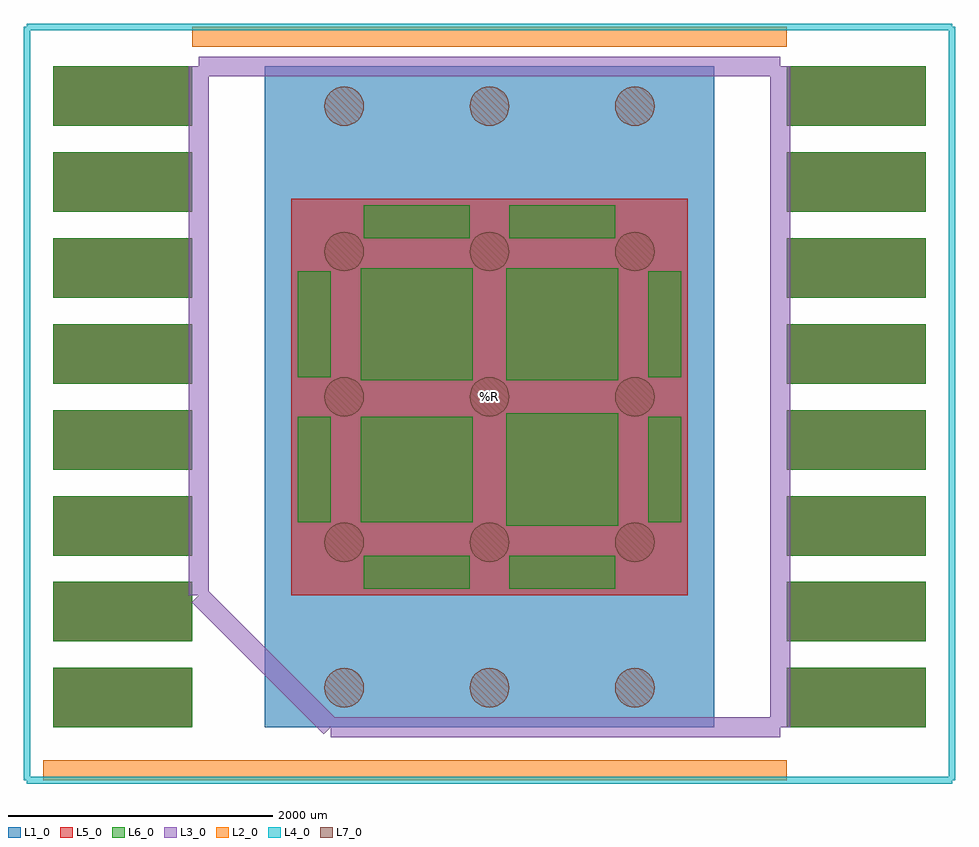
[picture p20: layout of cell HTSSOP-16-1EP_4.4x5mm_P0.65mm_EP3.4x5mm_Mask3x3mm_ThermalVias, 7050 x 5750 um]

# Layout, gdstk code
import gdstk
lib = gdstk.Library(unit=1e-6, precision=1e-09)
def R(c, l, rs):  # rectangles x0, y0, x1, y1
    for r in rs: c.add(gdstk.rectangle(r[:2], r[2:], *l))
def A(c, l, x, y, w, h, nx, ny, dx, dy):  # array of equal rectangles
    R(c, l, [(x+i*dx, y+j*dy, x+i*dx+w, y+j*dy+h) for i in range(nx) for j in range(ny)])
def P(c, l, *ps):  # polygons
    for p in ps: c.add(gdstk.Polygon(p, *l))
L1_0 = (1, 0)
L2_0 = (2, 0)
L3_0 = (3, 0)
L4_0 = (4, 0)
L5_0 = (5, 0)
L6_0 = (6, 0)
L7_0 = (7, 0)

htssop_16_1ep_4_4x5mm_p0 = lib.new_cell('HTSSOP-16-1EP_4.4x5mm_P0.65mm_EP3.4x5mm_Mask3x3mm_ThermalVias')
A(htssop_16_1ep_4_4x5mm_p0, L1_0, -3300, -2500, 1050, 450, 1, 8, 0, 650)
A(htssop_16_1ep_4_4x5mm_p0, L1_0, 2250, -2500, 1050, 450, 1, 8, 0, 650)
R(htssop_16_1ep_4_4x5mm_p0, L1_0, [(-1700,-2500,1700,2500), (-1700,-2500,1700,2500)])
P(htssop_16_1ep_4_4x5mm_p0, L1_0, [(-800,2200),(-823,2315),(-888,2412),(-985,2477),(-1100,2500),(-1215,2477),(-1312,2412),(-1377,2315),(-1400,2200),(-1377,2085),(-1312,1988),(-1215,1923),(-1100,1900),(-985,1923),(-888,1988),(-823,2085)],
  [(300,2200),(277,2315),(212,2412),(115,2477),(0,2500),(-115,2477),(-212,2412),(-277,2315),(-300,2200),(-277,2085),(-212,1988),(-115,1923),(0,1900),(115,1923),(212,1988),(277,2085)],
  [(1400,2200),(1377,2315),(1312,2412),(1215,2477),(1100,2500),(985,2477),(888,2412),(823,2315),(800,2200),(823,2085),(888,1988),(985,1923),(1100,1900),(1215,1923),(1312,1988),(1377,2085)],
  [(1400,1100),(1377,1215),(1312,1312),(1215,1377),(1100,1400),(985,1377),(888,1312),(823,1215),(800,1100),(823,985),(888,888),(985,823),(1100,800),(1215,823),(1312,888),(1377,985)],
  [(300,1100),(277,1215),(212,1312),(115,1377),(0,1400),(-115,1377),(-212,1312),(-277,1215),(-300,1100),(-277,985),(-212,888),(-115,823),(0,800),(115,823),(212,888),(277,985)],
  [(-800,1100),(-823,1215),(-888,1312),(-985,1377),(-1100,1400),(-1215,1377),(-1312,1312),(-1377,1215),(-1400,1100),(-1377,985),(-1312,888),(-1215,823),(-1100,800),(-985,823),(-888,888),(-823,985)],
  [(1400,0),(1377,115),(1312,212),(1215,277),(1100,300),(985,277),(888,212),(823,115),(800,0),(823,-115),(888,-212),(985,-277),(1100,-300),(1215,-277),(1312,-212),(1377,-115)],
  [(300,0),(277,115),(212,212),(115,277),(0,300),(-115,277),(-212,212),(-277,115),(-300,0),(-277,-115),(-212,-212),(-115,-277),(0,-300),(115,-277),(212,-212),(277,-115)],
  [(-800,0),(-823,115),(-888,212),(-985,277),(-1100,300),(-1215,277),(-1312,212),(-1377,115),(-1400,0),(-1377,-115),(-1312,-212),(-1215,-277),(-1100,-300),(-985,-277),(-888,-212),(-823,-115)],
  [(1400,-1100),(1377,-985),(1312,-888),(1215,-823),(1100,-800),(985,-823),(888,-888),(823,-985),(800,-1100),(823,-1215),(888,-1312),(985,-1377),(1100,-1400),(1215,-1377),(1312,-1312),(1377,-1215)],
  [(300,-1100),(277,-985),(212,-888),(115,-823),(0,-800),(-115,-823),(-212,-888),(-277,-985),(-300,-1100),(-277,-1215),(-212,-1312),(-115,-1377),(0,-1400),(115,-1377),(212,-1312),(277,-1215)],
  [(-800,-1100),(-823,-985),(-888,-888),(-985,-823),(-1100,-800),(-1215,-823),(-1312,-888),(-1377,-985),(-1400,-1100),(-1377,-1215),(-1312,-1312),(-1215,-1377),(-1100,-1400),(-985,-1377),(-888,-1312),(-823,-1215)],
  [(1400,-2200),(1377,-2085),(1312,-1988),(1215,-1923),(1100,-1900),(985,-1923),(888,-1988),(823,-2085),(800,-2200),(823,-2315),(888,-2412),(985,-2477),(1100,-2500),(1215,-2477),(1312,-2412),(1377,-2315)],
  [(300,-2200),(277,-2085),(212,-1988),(115,-1923),(0,-1900),(-115,-1923),(-212,-1988),(-277,-2085),(-300,-2200),(-277,-2315),(-212,-2412),(-115,-2477),(0,-2500),(115,-2477),(212,-2412),(277,-2315)],
  [(-800,-2200),(-823,-2085),(-888,-1988),(-985,-1923),(-1100,-1900),(-1215,-1923),(-1312,-1988),(-1377,-2085),(-1400,-2200),(-1377,-2315),(-1312,-2412),(-1215,-2477),(-1100,-2500),(-985,-2477),(-888,-2412),(-823,-2315)])
A(htssop_16_1ep_4_4x5mm_p0, L5_0, -3300, -2500, 1050, 450, 1, 8, 0, 650)
A(htssop_16_1ep_4_4x5mm_p0, L5_0, 2250, -2500, 1050, 450, 1, 8, 0, 650)
R(htssop_16_1ep_4_4x5mm_p0, L5_0, [(-1500,-1500,1500,1500)])
A(htssop_16_1ep_4_4x5mm_p0, L6_0, -3300, -2500, 1050, 450, 1, 8, 0, 650)
A(htssop_16_1ep_4_4x5mm_p0, L6_0, 2250, -2500, 1050, 450, 1, 8, 0, 650)
R(htssop_16_1ep_4_4x5mm_p0, L6_0, [(-950,-1450,-150,-1200), (150,-1450,950,-1200), (125,-975,975,-125), (-1450,-950,-1200,-150), (-975,-950,-125,-150), (1200,-950,1450,-150), (-975,125,-125,975), (125,125,975,975), (-1450,150,-1200,950), (1200,150,1450,950), (-950,1200,-150,1450), (150,1200,950,1450)])
P(htssop_16_1ep_4_4x5mm_p0, L7_0, [(-950,2200),(-953,2229),(-961,2257),(-975,2283),(-994,2306),(-1017,2325),(-1043,2339),(-1071,2347),(-1100,2350),(-1129,2347),(-1157,2339),(-1183,2325),(-1206,2306),(-1225,2283),(-1239,2257),(-1247,2229),(-1250,2200),(-1247,2171),(-1239,2143),(-1225,2117),(-1206,2094),(-1183,2075),(-1157,2061),(-1129,2053),(-1100,2050),(-1071,2053),(-1043,2061),(-1017,2075),(-994,2094),(-975,2117),(-961,2143),(-953,2171)],
  [(150,2200),(147,2229),(139,2257),(125,2283),(106,2306),(83,2325),(57,2339),(29,2347),(0,2350),(-29,2347),(-57,2339),(-83,2325),(-106,2306),(-125,2283),(-139,2257),(-147,2229),(-150,2200),(-147,2171),(-139,2143),(-125,2117),(-106,2094),(-83,2075),(-57,2061),(-29,2053),(0,2050),(29,2053),(57,2061),(83,2075),(106,2094),(125,2117),(139,2143),(147,2171)],
  [(1250,2200),(1247,2229),(1239,2257),(1225,2283),(1206,2306),(1183,2325),(1157,2339),(1129,2347),(1100,2350),(1071,2347),(1043,2339),(1017,2325),(994,2306),(975,2283),(961,2257),(953,2229),(950,2200),(953,2171),(961,2143),(975,2117),(994,2094),(1017,2075),(1043,2061),(1071,2053),(1100,2050),(1129,2053),(1157,2061),(1183,2075),(1206,2094),(1225,2117),(1239,2143),(1247,2171)],
  [(1250,1100),(1247,1129),(1239,1157),(1225,1183),(1206,1206),(1183,1225),(1157,1239),(1129,1247),(1100,1250),(1071,1247),(1043,1239),(1017,1225),(994,1206),(975,1183),(961,1157),(953,1129),(950,1100),(953,1071),(961,1043),(975,1017),(994,994),(1017,975),(1043,961),(1071,953),(1100,950),(1129,953),(1157,961),(1183,975),(1206,994),(1225,1017),(1239,1043),(1247,1071)],
  [(150,1100),(147,1129),(139,1157),(125,1183),(106,1206),(83,1225),(57,1239),(29,1247),(0,1250),(-29,1247),(-57,1239),(-83,1225),(-106,1206),(-125,1183),(-139,1157),(-147,1129),(-150,1100),(-147,1071),(-139,1043),(-125,1017),(-106,994),(-83,975),(-57,961),(-29,953),(0,950),(29,953),(57,961),(83,975),(106,994),(125,1017),(139,1043),(147,1071)],
  [(-950,1100),(-953,1129),(-961,1157),(-975,1183),(-994,1206),(-1017,1225),(-1043,1239),(-1071,1247),(-1100,1250),(-1129,1247),(-1157,1239),(-1183,1225),(-1206,1206),(-1225,1183),(-1239,1157),(-1247,1129),(-1250,1100),(-1247,1071),(-1239,1043),(-1225,1017),(-1206,994),(-1183,975),(-1157,961),(-1129,953),(-1100,950),(-1071,953),(-1043,961),(-1017,975),(-994,994),(-975,1017),(-961,1043),(-953,1071)],
  [(1250,0),(1247,29),(1239,57),(1225,83),(1206,106),(1183,125),(1157,139),(1129,147),(1100,150),(1071,147),(1043,139),(1017,125),(994,106),(975,83),(961,57),(953,29),(950,0),(953,-29),(961,-57),(975,-83),(994,-106),(1017,-125),(1043,-139),(1071,-147),(1100,-150),(1129,-147),(1157,-139),(1183,-125),(1206,-106),(1225,-83),(1239,-57),(1247,-29)],
  [(150,0),(147,29),(139,57),(125,83),(106,106),(83,125),(57,139),(29,147),(0,150),(-29,147),(-57,139),(-83,125),(-106,106),(-125,83),(-139,57),(-147,29),(-150,0),(-147,-29),(-139,-57),(-125,-83),(-106,-106),(-83,-125),(-57,-139),(-29,-147),(0,-150),(29,-147),(57,-139),(83,-125),(106,-106),(125,-83),(139,-57),(147,-29)],
  [(-950,0),(-953,29),(-961,57),(-975,83),(-994,106),(-1017,125),(-1043,139),(-1071,147),(-1100,150),(-1129,147),(-1157,139),(-1183,125),(-1206,106),(-1225,83),(-1239,57),(-1247,29),(-1250,0),(-1247,-29),(-1239,-57),(-1225,-83),(-1206,-106),(-1183,-125),(-1157,-139),(-1129,-147),(-1100,-150),(-1071,-147),(-1043,-139),(-1017,-125),(-994,-106),(-975,-83),(-961,-57),(-953,-29)],
  [(1250,-1100),(1247,-1071),(1239,-1043),(1225,-1017),(1206,-994),(1183,-975),(1157,-961),(1129,-953),(1100,-950),(1071,-953),(1043,-961),(1017,-975),(994,-994),(975,-1017),(961,-1043),(953,-1071),(950,-1100),(953,-1129),(961,-1157),(975,-1183),(994,-1206),(1017,-1225),(1043,-1239),(1071,-1247),(1100,-1250),(1129,-1247),(1157,-1239),(1183,-1225),(1206,-1206),(1225,-1183),(1239,-1157),(1247,-1129)],
  [(150,-1100),(147,-1071),(139,-1043),(125,-1017),(106,-994),(83,-975),(57,-961),(29,-953),(0,-950),(-29,-953),(-57,-961),(-83,-975),(-106,-994),(-125,-1017),(-139,-1043),(-147,-1071),(-150,-1100),(-147,-1129),(-139,-1157),(-125,-1183),(-106,-1206),(-83,-1225),(-57,-1239),(-29,-1247),(0,-1250),(29,-1247),(57,-1239),(83,-1225),(106,-1206),(125,-1183),(139,-1157),(147,-1129)],
  [(-950,-1100),(-953,-1071),(-961,-1043),(-975,-1017),(-994,-994),(-1017,-975),(-1043,-961),(-1071,-953),(-1100,-950),(-1129,-953),(-1157,-961),(-1183,-975),(-1206,-994),(-1225,-1017),(-1239,-1043),(-1247,-1071),(-1250,-1100),(-1247,-1129),(-1239,-1157),(-1225,-1183),(-1206,-1206),(-1183,-1225),(-1157,-1239),(-1129,-1247),(-1100,-1250),(-1071,-1247),(-1043,-1239),(-1017,-1225),(-994,-1206),(-975,-1183),(-961,-1157),(-953,-1129)],
  [(1250,-2200),(1247,-2171),(1239,-2143),(1225,-2117),(1206,-2094),(1183,-2075),(1157,-2061),(1129,-2053),(1100,-2050),(1071,-2053),(1043,-2061),(1017,-2075),(994,-2094),(975,-2117),(961,-2143),(953,-2171),(950,-2200),(953,-2229),(961,-2257),(975,-2283),(994,-2306),(1017,-2325),(1043,-2339),(1071,-2347),(1100,-2350),(1129,-2347),(1157,-2339),(1183,-2325),(1206,-2306),(1225,-2283),(1239,-2257),(1247,-2229)],
  [(150,-2200),(147,-2171),(139,-2143),(125,-2117),(106,-2094),(83,-2075),(57,-2061),(29,-2053),(0,-2050),(-29,-2053),(-57,-2061),(-83,-2075),(-106,-2094),(-125,-2117),(-139,-2143),(-147,-2171),(-150,-2200),(-147,-2229),(-139,-2257),(-125,-2283),(-106,-2306),(-83,-2325),(-57,-2339),(-29,-2347),(0,-2350),(29,-2347),(57,-2339),(83,-2325),(106,-2306),(125,-2283),(139,-2257),(147,-2229)],
  [(-950,-2200),(-953,-2171),(-961,-2143),(-975,-2117),(-994,-2094),(-1017,-2075),(-1043,-2061),(-1071,-2053),(-1100,-2050),(-1129,-2053),(-1157,-2061),(-1183,-2075),(-1206,-2094),(-1225,-2117),(-1239,-2143),(-1247,-2171),(-1250,-2200),(-1247,-2229),(-1239,-2257),(-1225,-2283),(-1206,-2306),(-1183,-2325),(-1157,-2339),(-1129,-2347),(-1100,-2350),(-1071,-2347),(-1043,-2339),(-1017,-2325),(-994,-2306),(-975,-2283),(-961,-2257),(-953,-2229)])
htssop_16_1ep_4_4x5mm_p0.add(gdstk.FlexPath([(-1200,-2500),(2200,-2500)], 150, ends="flush", simple_path=True, layer=3, datatype=0))  # L3_0
htssop_16_1ep_4_4x5mm_p0.add(gdstk.FlexPath([(2200,-2500),(2200,2500)], 150, ends="flush", simple_path=True, layer=3, datatype=0))  # L3_0
htssop_16_1ep_4_4x5mm_p0.add(gdstk.FlexPath([(2200,2500),(-2200,2500)], 150, ends="flush", simple_path=True, layer=3, datatype=0))  # L3_0
htssop_16_1ep_4_4x5mm_p0.add(gdstk.FlexPath([(-2200,2500),(-2200,-1500)], 150, ends="flush", simple_path=True, layer=3, datatype=0))  # L3_0
htssop_16_1ep_4_4x5mm_p0.add(gdstk.FlexPath([(-2200,-1500),(-1200,-2500)], 150, ends="flush", simple_path=True, layer=3, datatype=0))  # L3_0
htssop_16_1ep_4_4x5mm_p0.add(gdstk.FlexPath([(-3500,-2900),(-3500,2800)], 50, ends="flush", simple_path=True, layer=4, datatype=0))  # L4_0
htssop_16_1ep_4_4x5mm_p0.add(gdstk.FlexPath([(3500,-2900),(3500,2800)], 50, ends="flush", simple_path=True, layer=4, datatype=0))  # L4_0
htssop_16_1ep_4_4x5mm_p0.add(gdstk.FlexPath([(-3500,-2900),(3500,-2900)], 50, ends="flush", simple_path=True, layer=4, datatype=0))  # L4_0
htssop_16_1ep_4_4x5mm_p0.add(gdstk.FlexPath([(-3500,2800),(3500,2800)], 50, ends="flush", simple_path=True, layer=4, datatype=0))  # L4_0
htssop_16_1ep_4_4x5mm_p0.add(gdstk.FlexPath([(-2250,2725),(2250,2725)], 150, ends="flush", simple_path=True, layer=2, datatype=0))  # L2_0
htssop_16_1ep_4_4x5mm_p0.add(gdstk.FlexPath([(-3375,-2825),(2250,-2825)], 150, ends="flush", simple_path=True, layer=2, datatype=0))  # L2_0
htssop_16_1ep_4_4x5mm_p0.add(gdstk.Label('REF**', (0,-3550), layer=2, texttype=0))
htssop_16_1ep_4_4x5mm_p0.add(gdstk.Label('HTSSOP-16-1EP_4.4x5mm_P0.65mm_EP3.4x5mm_Mask3x3mm_ThermalVias', (0,3550), layer=3, texttype=0))
htssop_16_1ep_4_4x5mm_p0.add(gdstk.Label('%R', (0,0), layer=3, texttype=0))

lib.write_gds('HTSSOP-16-1EP_4.4x5mm_P0.65mm_EP3.4x5mm_Mask3x3mm_ThermalVias.gds')
